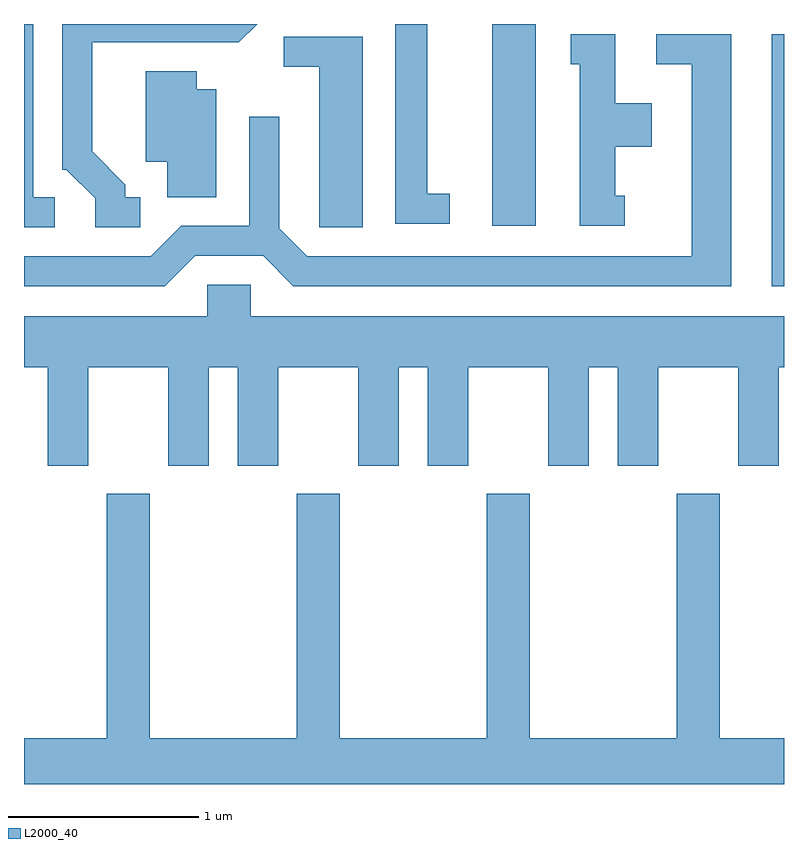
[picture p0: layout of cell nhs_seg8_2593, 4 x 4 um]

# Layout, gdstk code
import gdstk
lib = gdstk.Library(unit=1e-6, precision=1e-09)
def R(c, l, rs):  # rectangles x0, y0, x1, y1
    for r in rs: c.add(gdstk.rectangle(r[:2], r[2:], *l))
def P(c, l, *ps):  # polygons
    for p in ps: c.add(gdstk.Polygon(p, *l))
L2000_40 = (2000, 40)

nhs_seg8_2593 = lib.new_cell('nhs_seg8_2593')
R(nhs_seg8_2593, L2000_40, [(265.546,1938.961,265.611,1940.289), (264.076,1939.281,264.304,1940.342)])
P(nhs_seg8_2593, L2000_40, [(263.853,1939.449),(263.734,1939.449),(263.734,1940.342),(263.566,1940.342),(263.566,1939.291),(263.853,1939.291)],
  [(262.223,1939.429),(262.144,1939.429),(262.144,1939.497),(261.969,1939.672),(261.969,1940.246),(262.742,1940.246),(262.838,1940.342),(261.811,1940.342),(261.811,1939.576),(261.834,1939.576),(261.986,1939.424),(261.986,1939.271),(262.223,1939.271)],
  [(261.772,1939.429),(261.659,1939.429),(261.659,1940.342),(261.611,1940.342),(261.611,1939.271),(261.772,1939.271)],
  [(262.512,1939.121),(262.869,1939.121),(263.029,1938.961),(265.334,1938.961),(265.334,1940.289),(264.938,1940.289),(264.938,1940.131),(265.126,1940.131),(265.126,1939.119),(263.102,1939.119),(262.954,1939.267),(262.954,1939.853),(262.796,1939.853),(262.796,1939.279),(262.439,1939.279),(262.279,1939.119),(261.611,1939.119),(261.611,1938.961),(262.352,1938.961)],
  [(264.773,1939.439),(264.724,1939.439),(264.724,1939.696),(264.914,1939.696),(264.914,1939.924),(264.724,1939.924),(264.724,1940.289),(264.488,1940.289),(264.488,1940.131),(264.536,1940.131),(264.536,1939.281),(264.773,1939.281)],
  [(263.394,1940.274),(262.978,1940.274),(262.978,1940.116),(263.166,1940.116),(263.166,1939.271),(263.394,1939.271)],
  [(262.624,1939.999),(262.519,1939.999),(262.519,1940.094),(262.251,1940.094),(262.251,1939.616),(262.366,1939.616),(262.366,1939.431),(262.624,1939.431)],
  [(261.949,1938.536),(262.371,1938.536),(262.371,1938.016),(262.584,1938.016),(262.584,1938.536),(262.736,1938.536),(262.736,1938.016),(262.949,1938.016),(262.949,1938.536),(263.371,1938.536),(263.371,1938.016),(263.584,1938.016),(263.584,1938.536),(263.736,1938.536),(263.736,1938.016),(263.949,1938.016),(263.949,1938.536),(264.371,1938.536),(264.371,1938.016),(264.584,1938.016),(264.584,1938.536),(264.736,1938.536),(264.736,1938.016),(264.949,1938.016),(264.949,1938.536),(265.371,1938.536),(265.371,1938.016),(265.584,1938.016),(265.584,1938.536),(265.611,1938.536),(265.611,1938.804),(262.804,1938.804),(262.804,1938.969),(262.576,1938.969),(262.576,1938.804),(261.611,1938.804),(261.611,1938.536),(261.736,1938.536),(261.736,1938.016),(261.949,1938.016)],
  [(265.611,1936.584),(265.274,1936.584),(265.274,1937.869),(265.046,1937.869),(265.046,1936.584),(264.274,1936.584),(264.274,1937.869),(264.046,1937.869),(264.046,1936.584),(263.274,1936.584),(263.274,1937.869),(263.046,1937.869),(263.046,1936.584),(262.274,1936.584),(262.274,1937.869),(262.046,1937.869),(262.046,1936.584),(261.611,1936.584),(261.611,1936.342),(265.611,1936.342)])

lib.write_gds('nhs_seg8_2593.gds')
